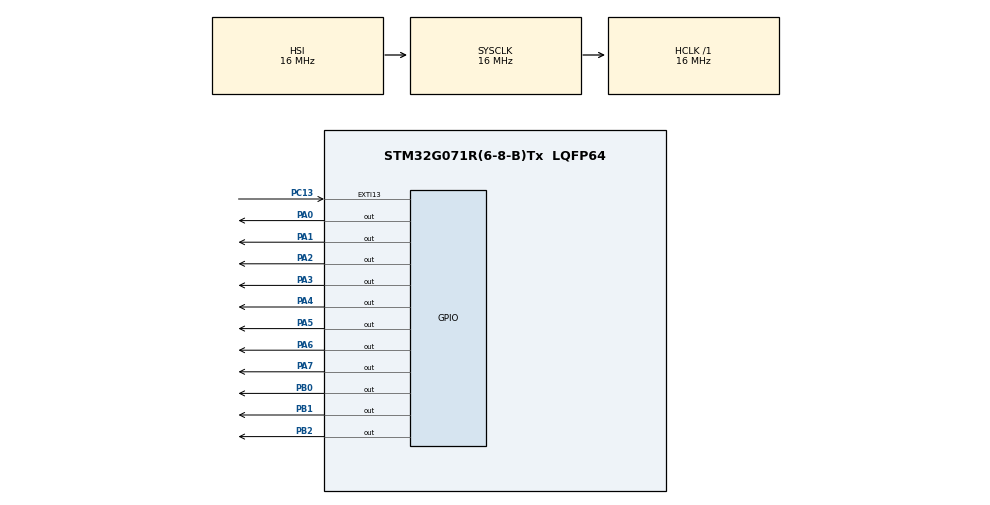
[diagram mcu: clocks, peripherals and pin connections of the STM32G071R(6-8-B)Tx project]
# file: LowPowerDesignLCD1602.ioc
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Mcu.Family=STM32G0
Mcu.Name=STM32G071R(6-8-B)Tx
Mcu.Package=LQFP64
NVIC.EXTI4_15_IRQn=true\:0\:0\:false\:false\:true\:true\:true
NVIC.RTC_TAMP_IRQn=true\:0\:0\:false\:false\:true\:true\:true
PA0.Signal=GPIO_Output
PA1.Signal=GPIO_Output
PA2.Signal=GPIO_Output
PA3.Signal=GPIO_Output
PA4.Signal=GPIO_Output
PA5.Signal=GPIO_Output
PA6.Signal=GPIO_Output
PA7.Signal=GPIO_Output
PB0.Signal=GPIO_Output
PB1.Signal=GPIO_Output
PB2.Signal=GPIO_Output
PC13.GPIO_ModeDefaultEXTI=GPIO_MODE_IT_FALLING
PC13.Signal=GPXTI13
PC14-OSC32_IN\ (PC14).Mode=LSE-External-Oscillator
PC14-OSC32_IN\ (PC14).Signal=RCC_OSC32_IN
PC15-OSC32_OUT\ (PC15).Mode=LSE-External-Oscillator
PC15-OSC32_OUT\ (PC15).Signal=RCC_OSC32_OUT
ProjectManager.HeapSize=0x200
ProjectManager.StackSize=0x400
ProjectManager.TargetToolchain=MDK-ARM V5.27
RCC.AHBFreq_Value=16000000
RCC.CortexFreq_Value=16000000
RCC.EXTERNAL_CLOCK_VALUE=48000
RCC.HCLKFreq_Value=16000000
RCC.HSE_VALUE=8000000
RCC.HSI_VALUE=16000000
RCC.RTCClockSelection=RCC_RTCCLKSOURCE_LSE
RCC.SYSCLKFreq_VALUE=16000000
RCC.VCOOutputFreq_Value=128000000
RTC.WakeUpCounter-WakeUp=10246
VP_RTC_VS_RTC_Activate.Mode=RTC_Enabled
VP_RTC_VS_RTC_WakeUp_intern.Mode=WakeUp
VP_SYS_VS_DBSignals.Mode=DisableDeadBatterySignals
board=custom

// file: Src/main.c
/* USER CODE BEGIN Header */
/**
  ******************************************************************************
  * @file           : main.c
  * @brief          : Main program body
  ******************************************************************************
  * @attention
  *
  * <h2><center>&copy; Copyright (c) 2021 STMicroelectronics.
  * All rights reserved.</center></h2>
  *
  * This software component is licensed by ST under BSD 3-Clause license,
  * the "License"; You may not use this file except in compliance with the
  * License. You may obtain a copy of the License at:
  *                        opensource.org/licenses/BSD-3-Clause
  *
  ******************************************************************************
  */
/* USER CODE END Header */
#include "main.h"

void delay(void);
void lcdwritecmd(unsigned char cmd);
void lcdwritedata(unsigned char dat);
void lcdinit(void);
void lcdsetcursor(unsigned char x, unsigned char y);
void lcdshowstr(unsigned char x, unsigned char y, unsigned char *str);

RTC_HandleTypeDef hrtc;

void SystemClock_Config(void);
static void MX_GPIO_Init(void);
static void MX_RTC_Init(void);

int main(void)
{

  /* MCU Configuration--------------------------------------------------------*/

  /* Reset of all peripherals, Initializes the Flash interface and the Systick. */
  HAL_Init();

  /* Configure the system clock */
  SystemClock_Config();

  /* Initialize all configured peripherals */
  MX_GPIO_Init();
  MX_RTC_Init();
  /* USER CODE BEGIN 2 */

	lcdinit();
	delay();

  /* USER CODE END 2 */

  /* Infinite loop */
  while (1)
  {
		/* USER CODE END WHILE */
		lcdshowstr(0,0,"Welcome To");
	  lcdshowstr(0,1,"Run Mode         ");
		HAL_Delay(2000);

		lcdshowstr(0,0,"Welcome To");
	  lcdshowstr(0,1,"Low Power Mode");

		//Enter STOP mode
		HAL_PWR_EnterSTOPMode(PWR_LOWPOWERREGULATOR_ON,PWR_STOPENTRY_WFI);

		//reconfigure system clock
		SystemClock_Config();

  }
}

void SystemClock_Config(void)
{
  RCC_OscInitTypeDef RCC_OscInitStruct = {0};
  RCC_ClkInitTypeDef RCC_ClkInitStruct = {0};
  RCC_PeriphCLKInitTypeDef PeriphClkInit = {0};

  /** Configure the main internal regulator output voltage
  */
  HAL_PWREx_ControlVoltageScaling(PWR_REGULATOR_VOLTAGE_SCALE1);
  /** Configure LSE Drive Capability
  */
  HAL_PWR_EnableBkUpAccess();
  __HAL_RCC_LSEDRIVE_CONFIG(RCC_LSEDRIVE_LOW);
  /** Initializes the RCC Oscillators according to the specified parameters
  * in the RCC_OscInitTypeDef structure.
  */
  RCC_OscInitStruct.OscillatorType = RCC_OSCILLATORTYPE_HSI|RCC_OSCILLATORTYPE_LSE;
  RCC_OscInitStruct.LSEState = RCC_LSE_ON;
  RCC_OscInitStruct.HSIState = RCC_HSI_ON;
  RCC_OscInitStruct.HSIDiv = RCC_HSI_DIV1;
  RCC_OscInitStruct.HSICalibrationValue = RCC_HSICALIBRATION_DEFAULT;
  RCC_OscInitStruct.PLL.PLLState = RCC_PLL_NONE;
  if (HAL_RCC_OscConfig(&RCC_OscInitStruct) != HAL_OK)
  {
    Error_Handler();
  }
  /** Initializes the CPU, AHB and APB buses clocks
  */
  RCC_ClkInitStruct.ClockType = RCC_CLOCKTYPE_HCLK|RCC_CLOCKTYPE_SYSCLK
                              |RCC_CLOCKTYPE_PCLK1;
  RCC_ClkInitStruct.SYSCLKSource = RCC_SYSCLKSOURCE_HSI;
  RCC_ClkInitStruct.AHBCLKDivider = RCC_SYSCLK_DIV1;
  RCC_ClkInitStruct.APB1CLKDivider = RCC_HCLK_DIV1;

  if (HAL_RCC_ClockConfig(&RCC_ClkInitStruct, FLASH_LATENCY_0) != HAL_OK)
  {
    Error_Handler();
  }
  /** Initializes the peripherals clocks
  */
  PeriphClkInit.PeriphClockSelection = RCC_PERIPHCLK_RTC;
  PeriphClkInit.RTCClockSelection = RCC_RTCCLKSOURCE_LSE;

  if (HAL_RCCEx_PeriphCLKConfig(&PeriphClkInit) != HAL_OK)
  {
    Error_Handler();
  }
}

static void MX_RTC_Init(void)
{

  /** Initialize RTC Only
  */
  hrtc.Instance = RTC;
  hrtc.Init.HourFormat = RTC_HOURFORMAT_24;
  hrtc.Init.AsynchPrediv = 127;
  hrtc.Init.SynchPrediv = 255;
  hrtc.Init.OutPut = RTC_OUTPUT_DISABLE;
  hrtc.Init.OutPutRemap = RTC_OUTPUT_REMAP_NONE;
  hrtc.Init.OutPutPolarity = RTC_OUTPUT_POLARITY_HIGH;
  hrtc.Init.OutPutType = RTC_OUTPUT_TYPE_OPENDRAIN;
  hrtc.Init.OutPutPullUp = RTC_OUTPUT_PULLUP_NONE;
  if (HAL_RTC_Init(&hrtc) != HAL_OK)
  {
    Error_Handler();
  }
  /** Enable the WakeUp
  */
  if (HAL_RTCEx_SetWakeUpTimer_IT(&hrtc, 10246, RTC_WAKEUPCLOCK_RTCCLK_DIV16) != HAL_OK)
  {
    Error_Handler();
  }

}

static void MX_GPIO_Init(void)
{
  GPIO_InitTypeDef GPIO_InitStruct = {0};

  /* GPIO Ports Clock Enable */
  __HAL_RCC_GPIOC_CLK_ENABLE();
  __HAL_RCC_GPIOA_CLK_ENABLE();
  __HAL_RCC_GPIOB_CLK_ENABLE();

  /*Configure GPIO pin Output Level */
  HAL_GPIO_WritePin(GPIOA, GPIO_PIN_0|GPIO_PIN_1|GPIO_PIN_2|GPIO_PIN_3
                          |GPIO_PIN_4|GPIO_PIN_5|GPIO_PIN_6|GPIO_PIN_7, GPIO_PIN_RESET);

  /*Configure GPIO pin Output Level */
  HAL_GPIO_WritePin(GPIOB, GPIO_PIN_0|GPIO_PIN_1|GPIO_PIN_2, GPIO_PIN_RESET);

  /*Configure GPIO pin : PC13 */
  GPIO_InitStruct.Pin = GPIO_PIN_13;
  GPIO_InitStruct.Mode = GPIO_MODE_IT_FALLING;
  GPIO_InitStruct.Pull = GPIO_NOPULL;
  HAL_GPIO_Init(GPIOC, &GPIO_InitStruct);

  /*Configure GPIO pins : PA0 PA1 PA2 PA3
                           PA4 PA5 PA6 PA7 */
  GPIO_InitStruct.Pin = GPIO_PIN_0|GPIO_PIN_1|GPIO_PIN_2|GPIO_PIN_3
                          |GPIO_PIN_4|GPIO_PIN_5|GPIO_PIN_6|GPIO_PIN_7;
  GPIO_InitStruct.Mode = GPIO_MODE_OUTPUT_PP;
  GPIO_InitStruct.Pull = GPIO_NOPULL;
  GPIO_InitStruct.Speed = GPIO_SPEED_FREQ_LOW;
  HAL_GPIO_Init(GPIOA, &GPIO_InitStruct);

  /*Configure GPIO pins : PB0 PB1 PB2 */
  GPIO_InitStruct.Pin = GPIO_PIN_0|GPIO_PIN_1|GPIO_PIN_2;
  GPIO_InitStruct.Mode = GPIO_MODE_OUTPUT_PP;
  GPIO_InitStruct.Pull = GPIO_NOPULL;
  GPIO_InitStruct.Speed = GPIO_SPEED_FREQ_LOW;
  HAL_GPIO_Init(GPIOB, &GPIO_InitStruct);

  /* EXTI interrupt init*/
  HAL_NVIC_SetPriority(EXTI4_15_IRQn, 0, 0);
  HAL_NVIC_EnableIRQ(EXTI4_15_IRQn);

}

/* USER CODE BEGIN 4 */
void delay ()
{
	for(int i=0;i<99;i++)
	  for(int j=0;j<99;j++)
	 {}
}

void lcdwritecmd(unsigned char cmd)
{
	// lcdwait();
	delay();
	GPIOB->ODR=0x00;  //E=0\RW=0\RS=0
	GPIOA->ODR=cmd;
	GPIOB->ODR=0x04;	//E=1\RW=0\RS=0
	delay();
	GPIOB->ODR=0x00;	//E=0\RW=0\RS=0
}

void lcdwritedata(unsigned char dat)
{
  //	lcdwait();
  delay();
	GPIOB->ODR=0x01;	//E=0\RW=0\RS=1
  GPIOA->ODR=dat;
	GPIOB->ODR=0x05;	//E=1\RW=0\RS=1
	delay();
	GPIOB->ODR=0x01;	//E=0\RW=0\RS=1
}

void lcdinit()
{
	lcdwritecmd(0x38); //2hang moshi 5*8dian zhen 8wei kuandu
	lcdwritecmd(0x0c); //dakai xianshi guanbi guangbiao
	lcdwritecmd(0x06); //wenzi budong dizhi zidong jiayi
	lcdwritecmd(0x01); //qingping
}

void lcdsetcursor(unsigned char x, unsigned char y)
{
	unsigned char address;
	if(y==0)            //diyihang cunchuqi dizhi 00kaishi
		address=0x00+x;
	else                //dierhang cunchuqi dizhi  40kaishi
		address=0x40+x;
	lcdwritecmd(address|0x80); //xie cunchuqi dizhi
}

void lcdshowstr(unsigned char x, unsigned char y, unsigned char *str)
{                         //zai x,y chu xianshi zifu
	lcdsetcursor(x,y);
	while((*str)!='\0')  		//bushi zifuchuan jiewei jixu
	{
		 lcdwritedata(*str); 	//xieshujv
		 str++;              	//zhizhen jiayi zhixiang xiayige zifu
	}
}

/* USER CODE END 4 */

void Error_Handler(void)
{
  __disable_irq();
  while (1)
  {
  }
}

/************************ (C) COPYRIGHT STMicroelectronics *****END OF FILE****/
